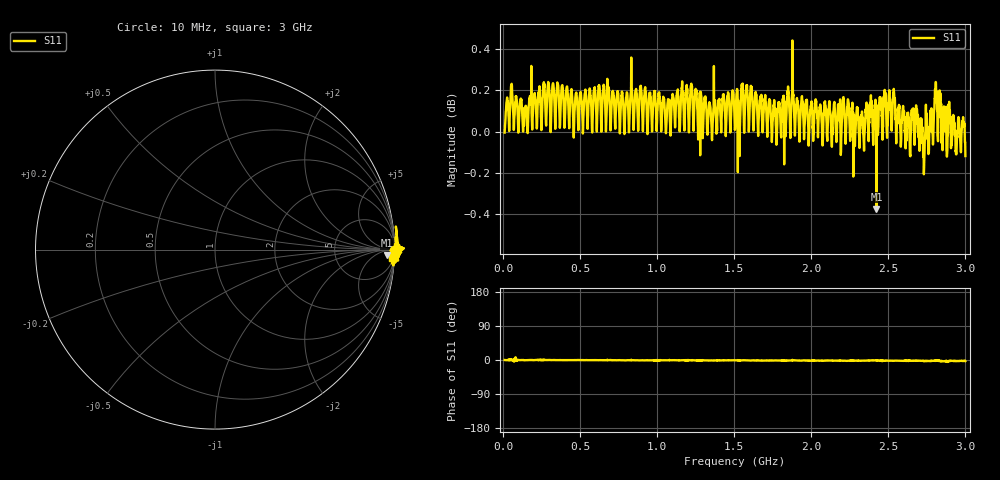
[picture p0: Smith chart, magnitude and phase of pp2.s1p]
# HZ S RI R 50
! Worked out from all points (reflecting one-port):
!   2020 points, 10 MHz to 3 GHz, reference 50 ohm
!   lowest |S11| = -0.4 dB at 2.422 GHz (marker M1), VSWR 46.22, Z = 1.46e+03 - j1.11e+03 ohm
!   phase of S11 starts at 0 deg and turns -3 deg over the sweep
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1e7  0.9995 1.27e-05
4.554234e7  1.013 0.0147
5.887072e7  1.022 -0.0255
6.627538e7  1.009 -0.0395
7.812283e7  1.016 -0.00521
8.848934e7  1.018 -0.0275
9.737493e7  1.004 0.0031
2.499108e8  1.003 0.00519
3.846755e8  1.026 -0.00761
7.578702e8  0.9989 -0.014
1.132546e9  1.023 -0.01
1.347281e9  1.012 -0.0244
1.50574e9  1.002 -0.0134
1.684933e9  0.9994 -0.0248
1.878935e9  1.023 -0.0168
1.991486e9  1.009 -0.0319
2.25361e9  0.9982 -0.0175
2.422437e9  0.9571 -0.0316
2.463903e9  1.005 -0.0323
2.495002e9  1.003 -0.0274
2.626805e9  1.01 -0.0331
2.672714e9  1 -0.0335
2.727508e9  0.9881 -0.0396
2.760089e9  0.9864 -0.046
2.817845e9  1.013 -0.0235
2.871159e9  0.9976 -0.0688
2.911144e9  0.9918 -0.033
3e9  0.9854 -0.0454
